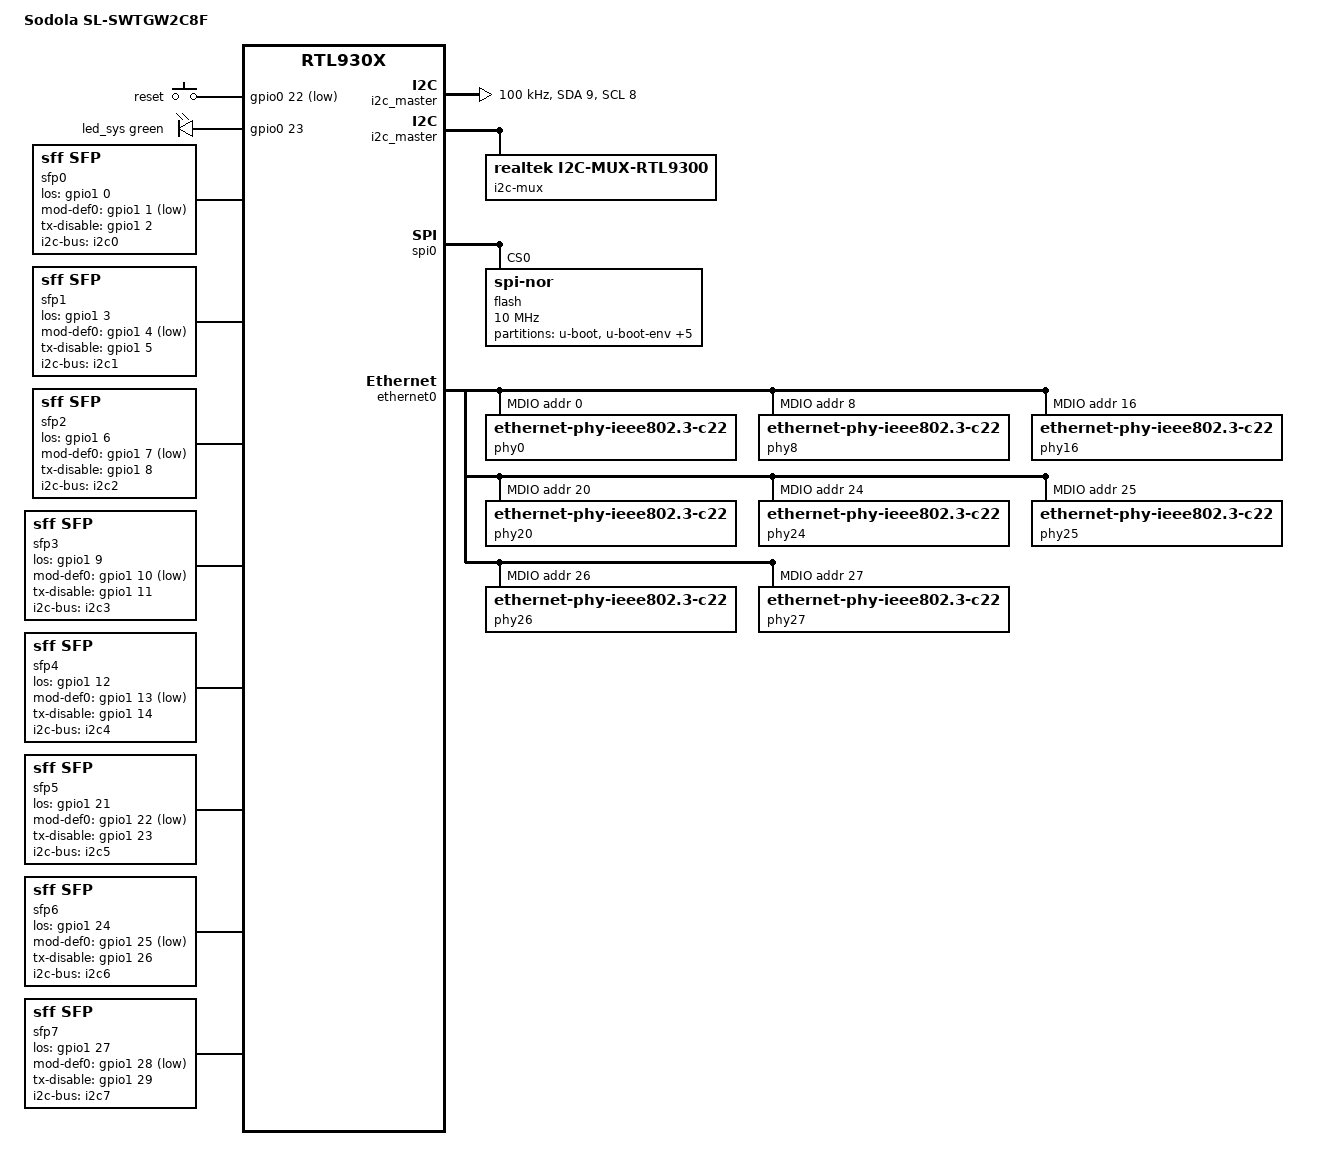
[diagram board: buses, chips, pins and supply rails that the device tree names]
// SPDX-License-Identifier: GPL-2.0-or-later
/dts-v1/;

#include "rtl930x.dtsi"

#include <dt-bindings/input/input.h>
#include <dt-bindings/gpio/gpio.h>
#include <dt-bindings/leds/common.h>

/ {
        compatible = "sodola,sl-swtgw2c8f", "realtek,rtl930x-soc";
        model = "Sodola SL-SWTGW2C8F";

	aliases {
		led-boot = &led_sys;
		led-failsafe = &led_sys;
		led-running = &led_sys;
		led-upgrade = &led_sys;
	};

	chosen {
		stdout-path = "serial0:115200n8";
	};

	i2c_master: i2c@1b00036c {
		compatible = "realtek,rtl9300-i2c";
		reg = <0x1b00036c 0x3c>;
		#address-cells = <1>;
		#size-cells = <0>;
		scl-pin = <8>;
		sda-pin = <9>;
		clock-frequency = <100000>;
	};

	i2c-mux {
		compatible = "realtek,i2c-mux-rtl9300";
		i2c-parent = <&i2c_master>;
		#address-cells = <1>;
		#size-cells = <0>;

		i2c0: i2c@0 {
			reg = <0>;
			scl-pin = <8>;
			sda-pin = <9>;
		};

		i2c1: i2c@1 {
			reg = <1>;
			scl-pin = <8>;
			sda-pin = <10>;
		};

		i2c2: i2c@2 {
			reg = <2>;
			scl-pin = <8>;
			sda-pin = <11>;
		};

		i2c3: i2c@3 {
			reg = <3>;
			scl-pin = <8>;
			sda-pin = <12>;
		};

		i2c4: i2c@4 {
			reg = <4>;
			scl-pin = <8>;
			sda-pin = <13>;
		};

		i2c5: i2c@5 {
			reg = <5>;
			scl-pin = <8>;
			sda-pin = <14>;
		};

		i2c6: i2c@6 {
			reg = <6>;
			scl-pin = <8>;
			sda-pin = <15>;
		};

		i2c7: i2c@7 {
			reg = <7>;
			scl-pin = <8>;
			sda-pin = <16>;
		};
	};

	keys {
		compatible = "gpio-keys";

		button-reset {
			label = "reset";
			gpios = <&gpio0 22 GPIO_ACTIVE_LOW>;
			linux,code = <KEY_RESTART>;
		};
	};

	leds {
		compatible = "gpio-leds";

		led_sys: led-0 {
			gpios = <&gpio0 23 GPIO_ACTIVE_HIGH>;
			color = <LED_COLOR_ID_GREEN>;
			function = LED_FUNCTION_STATUS;
		};
	};

	sfp0: sfp-p1 {
		compatible = "sff,sfp";
		i2c-bus = <&i2c0>;
		los-gpio = <&gpio1 0 GPIO_ACTIVE_HIGH>;
		mod-def0-gpio = <&gpio1 1 GPIO_ACTIVE_LOW>;
		tx-disable-gpio = <&gpio1 2 GPIO_ACTIVE_HIGH>;
	};

	sfp1: sfp-p2 {
		compatible = "sff,sfp";
		i2c-bus = <&i2c1>;
		los-gpio = <&gpio1 3 GPIO_ACTIVE_HIGH>;
		mod-def0-gpio = <&gpio1 4 GPIO_ACTIVE_LOW>;
		tx-disable-gpio = <&gpio1 5 GPIO_ACTIVE_HIGH>;
	};

	sfp2: sfp-p3 {
		compatible = "sff,sfp";
		i2c-bus = <&i2c2>;
		los-gpio = <&gpio1 6 GPIO_ACTIVE_HIGH>;
		mod-def0-gpio = <&gpio1 7 GPIO_ACTIVE_LOW>;
		tx-disable-gpio = <&gpio1 8 GPIO_ACTIVE_HIGH>;
	};

	sfp3: sfp-p4 {
		compatible = "sff,sfp";
		i2c-bus = <&i2c3>;
		los-gpio = <&gpio1 9 GPIO_ACTIVE_HIGH>;
		mod-def0-gpio = <&gpio1 10 GPIO_ACTIVE_LOW>;
		tx-disable-gpio = <&gpio1 11 GPIO_ACTIVE_HIGH>;
	};

	sfp4: sfp-p5 {
		compatible = "sff,sfp";
		i2c-bus = <&i2c4>;
		los-gpio = <&gpio1 12 GPIO_ACTIVE_HIGH>;
		mod-def0-gpio = <&gpio1 13 GPIO_ACTIVE_LOW>;
		tx-disable-gpio = <&gpio1 14 GPIO_ACTIVE_HIGH>;
	};

	sfp5: sfp-p6 {
		compatible = "sff,sfp";
		i2c-bus = <&i2c5>;
		los-gpio = <&gpio1 21 GPIO_ACTIVE_HIGH>;
		mod-def0-gpio = <&gpio1 22 GPIO_ACTIVE_LOW>;
		tx-disable-gpio = <&gpio1 23 GPIO_ACTIVE_HIGH>;
	};

	sfp6: sfp-p7 {
		compatible = "sff,sfp";
		i2c-bus = <&i2c6>;
		los-gpio = <&gpio1 24 GPIO_ACTIVE_HIGH>;
		mod-def0-gpio = <&gpio1 25 GPIO_ACTIVE_LOW>;
		tx-disable-gpio = <&gpio1 26 GPIO_ACTIVE_HIGH>;
	};

	sfp7: sfp-p8 {
		compatible = "sff,sfp";
		i2c-bus = <&i2c7>;
		los-gpio = <&gpio1 27 GPIO_ACTIVE_HIGH>;
		mod-def0-gpio = <&gpio1 28 GPIO_ACTIVE_LOW>;
		tx-disable-gpio = <&gpio1 29 GPIO_ACTIVE_HIGH>;
	};

};

&pinmux_ext_gpio_glb {
	status = "okay";
};

&gpio1 {
	status = "okay";
};

&spi0 {
	status = "okay";

	flash@0 {
		compatible = "jedec,spi-nor";
		reg = <0>;
		spi-max-frequency = <10000000>;
		partitions {
			compatible = "fixed-partitions";
			#address-cells = <1>;
			#size-cells = <1>;

			partition@0 {
				label = "u-boot";
				reg = <0x0 0x0e0000>;
				read-only;
			};

			partition@0e0000 {
				label = "u-boot-env";
				reg = <0x0e0000 0x10000>;
			};

			partition@0f0000 {
				label = "u-boot-env2";
				reg = <0x0f0000 0x10000>;
			};

			partition@100000 {
				label = "jffs2 cfg";
				reg = <0x100000 0x100000>;
			};

			partition@200000 {
				label = "jffs2 log";
				reg = <0x200000 0x100000>;
			};

			partition@300000 {
				label = "runtime";
				reg = <0x300000 0x0c00000>;
				compatible = "denx,uimage";
			};
			partition@f00000 {
				label = "oeminfo";
				reg = <0xf00000 0x100000>;
			};
		};
	};
};

&ethernet0 {
	mdio: mdio-bus {
		compatible = "realtek,rtl838x-mdio";
		regmap = <&ethernet0>;
		#address-cells = <1>;
		#size-cells = <0>;

		phy0: ethernet-phy@0 {
			compatible = "ethernet-phy-ieee802.3-c22";
			phy-is-integrated;
			reg = <0>;
			sds = <2>;
		};

		phy8: ethernet-phy@8 {
			compatible = "ethernet-phy-ieee802.3-c22";
			phy-is-integrated;
			reg = <8>;
			sds = <3>;
		};

		phy16: ethernet-phy@10 {
			compatible = "ethernet-phy-ieee802.3-c22";
			phy-is-integrated;
			reg = <16>;
			sds = <4>;
		};

		phy20: ethernet-phy@14 {
			compatible = "ethernet-phy-ieee802.3-c22";
			phy-is-integrated;
			reg = <20>;
			sds = <5>;
		};

		phy24: ethernet-phy@18 {
			compatible = "ethernet-phy-ieee802.3-c22";
			phy-is-integrated;
			reg = <24>;
			sds = <6>;
		};

		phy25: ethernet-phy@19 {
			compatible = "ethernet-phy-ieee802.3-c22";
			phy-is-integrated;
			reg = <25>;
			sds = <7>;
		};

		phy26: ethernet-phy@1a {
			compatible = "ethernet-phy-ieee802.3-c22";
			phy-is-integrated;
			reg = <26>;
			sds = <8>;
		};

		phy27: ethernet-phy@1b {
			compatible = "ethernet-phy-ieee802.3-c22";
			phy-is-integrated;
			reg = <27>;
			sds = <9>;
		};
	};
};

&switch0 {
	ports {
		#address-cells = <1>;
		#size-cells = <0>;

		port@0 {
			reg = <0>;
			label = "lan1";
			phy-handle = <&phy0>;
			phy-mode = "10gbase-r";
			sfp = <&sfp0>;
			max-frame-size = <10000>;
			managed = "in-band-status";
		};

		port@8 {
			reg = <8>;
			label = "lan2";
			phy-handle = <&phy8>;
			phy-mode = "10gbase-r";
			sfp = <&sfp1>;
			max-frame-size = <10000>;
			managed = "in-band-status";
		};

		port@10 {
			reg = <16>;
			label = "lan3";
			phy-handle = <&phy16>;
			phy-mode = "10gbase-r";
			sfp = <&sfp2>;
			max-frame-size = <10000>;
			managed = "in-band-status";
		};

		port@14 {
			reg = <20>;
			label = "lan4";
			phy-handle = <&phy20>;
			phy-mode = "10gbase-r";
			sfp = <&sfp3>;
			max-frame-size = <10000>;
			managed = "in-band-status";
		};

		port@18 {
			reg = <24>;
			label = "lan5";
			phy-handle = <&phy24>;
			phy-mode = "10gbase-r";
			sfp = <&sfp4>;
			max-frame-size = <10000>;
			managed = "in-band-status";
		};

		port@19 {
			reg = <25>;
			label = "lan6";
			phy-handle = <&phy25>;
			phy-mode = "10gbase-r";
			sfp = <&sfp5>;
			max-frame-size = <10000>;
			managed = "in-band-status";
		};

		port@1a {
			reg = <26>;
			label = "lan7";
			phy-handle = <&phy26>;
			phy-mode = "10gbase-r";
			sfp = <&sfp6>;
			max-frame-size = <10000>;
			managed = "in-band-status";
		};

		port@1b {
			reg = <27>;
			label = "lan8";
			phy-handle = <&phy27>;
			phy-mode = "10gbase-r";
			sfp = <&sfp7>;
			max-frame-size = <10000>;
			managed = "in-band-status";
		};

		port@1c {
			ethernet = <&ethernet0>;
			reg = <28>;
			phy-mode = "internal";
			max-frame-size = <10000>;
			fixed-link {
				speed = <10000>;
				full-duplex;
			};
		};
	};
};
